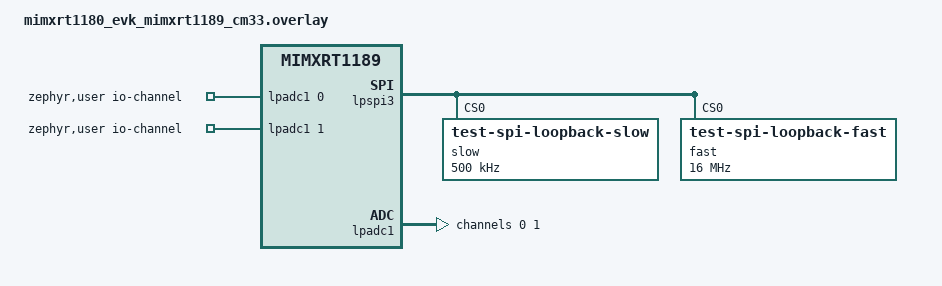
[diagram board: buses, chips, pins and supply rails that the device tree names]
/*
 * Copyright 2024 NXP
 *
 * SPDX-License-Identifier: Apache-2.0
 */

/* To test this sample, connect J44.8 <-> J44.10 */

&lpspi3 {
	slow@0 {
		compatible = "test-spi-loopback-slow";
		reg = <0>;
		spi-max-frequency = <500000>;
	};

	fast@0 {
		compatible = "test-spi-loopback-fast";
		reg = <0>;
		spi-max-frequency = <16000000>;
	};

	transfer-delay = <100>;
	pcs-sck-delay = <100>;
	sck-pcs-delay = <100>;
};

#include <zephyr/dt-bindings/adc/mcux-lpadc.h>

/ {
	zephyr,user {
		io-channels = <&lpadc1 0>, <&lpadc1 1>;
	};
};

&lpadc1 {
	#address-cells = <1>;
	#size-cells = <0>;
	channel@0 {
		reg = <0>;
		zephyr,gain = "ADC_GAIN_1";
		zephyr,reference = "ADC_REF_EXTERNAL0";
		zephyr,acquisition-time = <ADC_ACQ_TIME_DEFAULT>;
		zephyr,resolution = <12>;
		zephyr,input-positive = <MCUX_LPADC_CH0A>;
	};
	channel@1 {
		reg = <1>;
		zephyr,gain = "ADC_GAIN_1";
		zephyr,reference = "ADC_REF_EXTERNAL0";
		zephyr,acquisition-time = <ADC_ACQ_TIME_DEFAULT>;
		zephyr,resolution = <12>;
		zephyr,input-positive = <MCUX_LPADC_CH1A>;
	};
};
